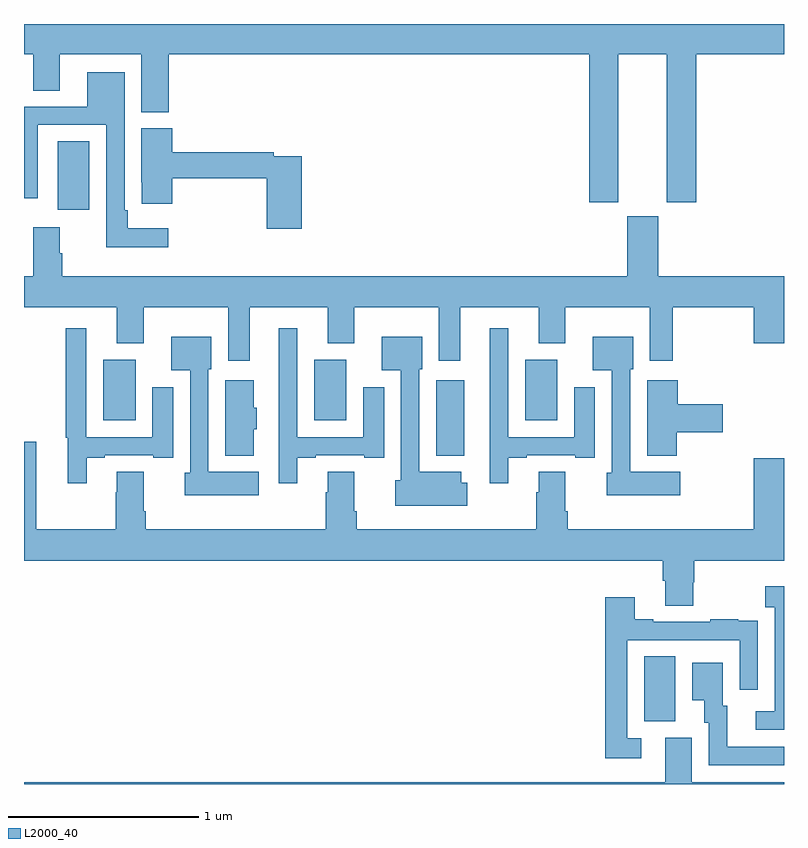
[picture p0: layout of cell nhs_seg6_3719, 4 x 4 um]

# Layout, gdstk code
import gdstk
lib = gdstk.Library(unit=1e-6, precision=1e-09)
def R(c, l, rs):  # rectangles x0, y0, x1, y1
    for r in rs: c.add(gdstk.rectangle(r[:2], r[2:], *l))
def A(c, l, x, y, w, h, nx, ny, dx, dy):  # array of equal rectangles
    R(c, l, [(x+i*dx, y+j*dy, x+i*dx+w, y+j*dy+h) for i in range(nx) for j in range(ny)])
def P(c, l, *ps):  # polygons
    for p in ps: c.add(gdstk.Polygon(p, *l))
L2000_40 = (2000, 40)

nhs_seg6_3719 = lib.new_cell('nhs_seg6_3719')
A(nhs_seg6_3719, L2000_40, 329.417, 941.414, 0.17, 0.32, 3, 1, 1.11, 0)
R(nhs_seg6_3719, L2000_40, [(332.264,939.829,332.428,940.172), (331.169,941.228,331.318,941.626), (329.177,942.522,329.344,942.884)])
P(nhs_seg6_3719, L2000_40, [(332.128,943.34),(332.384,943.34),(332.384,942.561),(332.537,942.561),(332.537,943.34),(333,943.34),(333,943.5),(329,943.5),(329,943.34),(329.048,943.34),(329.048,943.15),(329.188,943.15),(329.188,943.34),(329.618,943.34),(329.618,943.036),(329.762,943.036),(329.762,943.34),(331.976,943.34),(331.976,942.561),(332.128,942.561)],
  [(329.758,942.424),(329.545,942.424),(329.545,942.52),(329.529,942.52),(329.529,943.246),(329.333,943.246),(329.333,943.065),(329,943.065),(329,942.582),(329.073,942.582),(329.073,942.969),(329.433,942.969),(329.433,942.326),(329.758,942.326)],
  [(330.461,942.804),(330.314,942.804),(330.314,942.824),(329.78,942.824),(329.78,942.951),(329.618,942.951),(329.618,942.667),(329.619,942.667),(329.619,942.555),(329.78,942.555),(329.78,942.688),(330.278,942.688),(330.278,942.423),(330.461,942.423)],
  [(330.187,942.008),(330.599,942.008),(330.599,941.819),(330.739,941.819),(330.739,942.008),(331.184,942.008),(331.184,941.727),(331.297,941.727),(331.297,942.008),(331.709,942.008),(331.709,941.819),(331.849,941.819),(331.849,942.008),(332.294,942.008),(332.294,941.727),(332.415,941.727),(332.415,942.008),(332.84,942.008),(332.84,941.82),(333,941.82),(333,942.172),(332.338,942.172),(332.338,942.489),(332.174,942.489),(332.174,942.172),(329.201,942.172),(329.201,942.293),(329.188,942.293),(329.188,942.43),(329.048,942.43),(329.048,942.172),(329,942.172),(329,942.008),(329.489,942.008),(329.489,941.819),(329.629,941.819),(329.629,942.008),(330.074,942.008),(330.074,941.727),(330.187,941.727)],
  [(331.549,941.217),(331.645,941.217),(331.645,941.229),(331.901,941.229),(331.901,941.217),(332.005,941.217),(332.005,941.587),(331.895,941.587),(331.895,941.325),(331.548,941.325),(331.548,941.899),(331.451,941.899),(331.451,941.082),(331.549,941.082)],
  [(329.329,941.217),(329.425,941.217),(329.425,941.229),(329.681,941.229),(329.681,941.217),(329.785,941.217),(329.785,941.587),(329.675,941.587),(329.675,941.325),(329.328,941.325),(329.328,941.899),(329.22,941.899),(329.22,941.322),(329.231,941.322),(329.231,941.082),(329.329,941.082)],
  [(330.439,941.217),(330.535,941.217),(330.535,941.229),(330.791,941.229),(330.791,941.217),(330.895,941.217),(330.895,941.587),(330.785,941.587),(330.785,941.325),(330.438,941.325),(330.438,941.899),(330.341,941.899),(330.341,941.613),(330.342,941.613),(330.342,941.322),(330.341,941.322),(330.341,941.082),(330.439,941.082)],
  [(330.235,941.143),(329.97,941.143),(329.97,941.682),(329.986,941.682),(329.986,941.854),(329.774,941.854),(329.774,941.678),(329.874,941.678),(329.874,941.139),(329.846,941.139),(329.846,941.021),(330.235,941.021)],
  [(332.455,941.143),(332.19,941.143),(332.19,941.682),(332.206,941.682),(332.206,941.854),(331.994,941.854),(331.994,941.678),(332.094,941.678),(332.094,941.139),(332.066,941.139),(332.066,941.021),(332.455,941.021)],
  [(331.333,941.086),(331.3,941.086),(331.3,941.143),(331.08,941.143),(331.08,941.682),(331.096,941.682),(331.096,941.854),(330.884,941.854),(330.884,941.678),(330.984,941.678),(330.984,941.099),(330.953,941.099),(330.953,940.964),(331.333,940.964)],
  [(330.208,941.367),(330.226,941.367),(330.226,941.481),(330.208,941.481),(330.208,941.626),(330.059,941.626),(330.059,941.228),(330.208,941.228)],
  [(332.436,941.351),(332.677,941.351),(332.677,941.498),(332.441,941.498),(332.441,941.626),(332.279,941.626),(332.279,941.228),(332.436,941.228)],
  [(332.523,940.563),(332.528,940.563),(332.528,940.676),(333,940.676),(333,941.215),(332.84,941.215),(332.84,940.84),(331.862,940.84),(331.862,940.936),(331.849,940.936),(331.849,941.144),(331.709,941.144),(331.709,941.036),(331.697,941.036),(331.697,940.84),(330.752,940.84),(330.752,940.936),(330.739,940.936),(330.739,941.144),(330.599,941.144),(330.599,941.036),(330.587,941.036),(330.587,940.84),(329.642,940.84),(329.642,940.936),(329.629,940.936),(329.629,941.144),(329.489,941.144),(329.489,941.036),(329.482,941.036),(329.482,940.84),(329.065,940.84),(329.065,941.302),(329,941.302),(329,940.676),(332.363,940.676),(332.363,940.57),(332.375,940.57),(332.375,940.438),(332.523,940.438)],
  [(333,940.54),(332.901,940.54),(332.901,940.43),(332.952,940.43),(332.952,939.882),(332.85,939.882),(332.85,939.786),(333,939.786)],
  [(332.248,939.741),(332.175,939.741),(332.175,940.257),(332.766,940.257),(332.766,939.996),(332.862,939.996),(332.862,940.25),(332.861,940.25),(332.861,940.359),(332.759,940.359),(332.759,940.366),(332.611,940.366),(332.611,940.353),(332.311,940.353),(332.311,940.366),(332.215,940.366),(332.215,940.483),(332.059,940.483),(332.059,939.636),(332.248,939.636)],
  [(333,939.696),(332.701,939.696),(332.701,939.912),(332.677,939.912),(332.677,940.138),(332.516,940.138),(332.516,939.941),(332.579,939.941),(332.579,939.822),(332.604,939.822),(332.604,939.6),(333,939.6)],
  [(333,939.508),(332.515,939.508),(332.515,939.744),(332.375,939.744),(332.375,939.508),(329,939.508),(329,939.5),(333,939.5)])

lib.write_gds('nhs_seg6_3719.gds')
